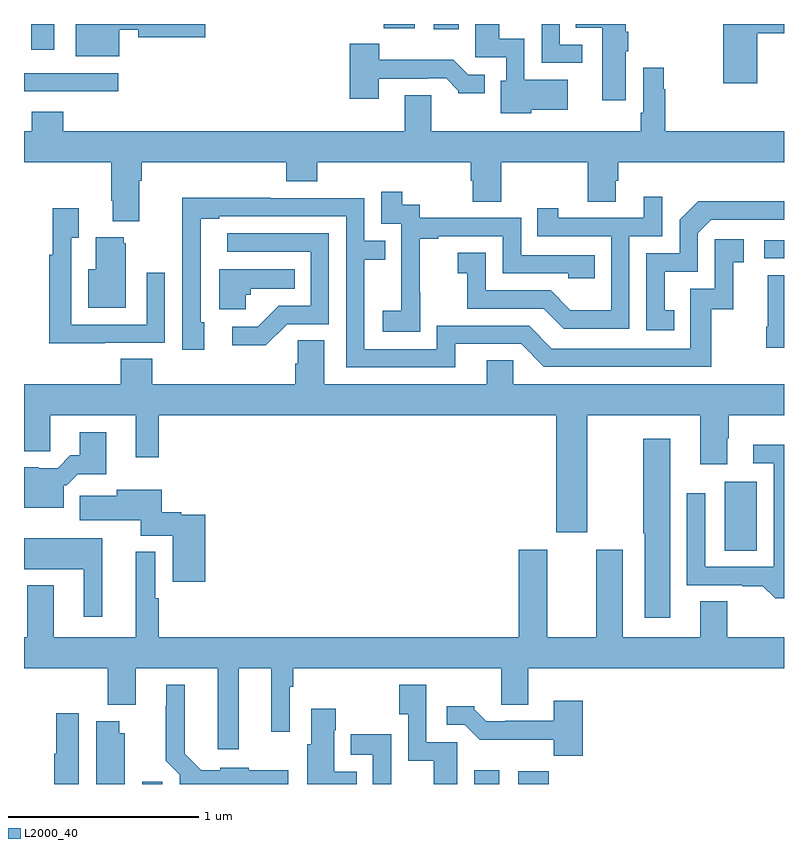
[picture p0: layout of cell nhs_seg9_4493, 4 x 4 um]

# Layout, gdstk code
import gdstk
lib = gdstk.Library(unit=1e-6, precision=1e-09)
def R(c, l, rs):  # rectangles x0, y0, x1, y1
    for r in rs: c.add(gdstk.rectangle(r[:2], r[2:], *l))
def P(c, l, *ps):  # polygons
    for p in ps: c.add(gdstk.Polygon(p, *l))
L2000_40 = (2000, 40)

nhs_seg9_4493 = lib.new_cell('nhs_seg9_4493')
R(nhs_seg9_4493, L2000_40, [(369.623,1174.5,369.727,1174.513), (371.369,1174.5,371.5,1174.573), (371.6,1174.5,371.762,1174.567), (372.689,1175.728,372.856,1176.091), (372.897,1177.266,373,1177.362), (369,1178.145,369.496,1178.241), (369.038,1178.364,369.16,1178.5), (371.156,1178.472,371.287,1178.5), (370.894,1178.477,371.056,1178.5)])
P(nhs_seg9_4493, L2000_40, [(372.858,1178.452),(373,1178.452),(373,1178.5),(372.68,1178.5),(372.68,1178.187),(372.858,1178.187)],
  [(372.166,1178.356),(372.179,1178.356),(372.179,1178.459),(372.166,1178.459),(372.166,1178.5),(371.905,1178.5),(371.905,1178.48),(372.044,1178.48),(372.044,1178.1),(372.166,1178.1)],
  [(371.938,1178.391),(371.82,1178.391),(371.82,1178.5),(371.724,1178.5),(371.724,1178.295),(371.938,1178.295)],
  [(369.502,1178.47),(369.602,1178.47),(369.602,1178.429),(369.955,1178.429),(369.955,1178.5),(369.272,1178.5),(369.272,1178.33),(369.502,1178.33)],
  [(371.67,1178.048),(371.863,1178.048),(371.863,1178.206),(371.634,1178.206),(371.634,1178.422),(371.5,1178.422),(371.5,1178.5),(371.375,1178.5),(371.375,1178.325),(371.538,1178.325),(371.538,1178.202),(371.51,1178.202),(371.51,1178.03),(371.67,1178.03)],
  [(370.867,1178.211),(371.123,1178.211),(371.123,1178.214),(371.222,1178.214),(371.286,1178.15),(371.286,1178.135),(371.425,1178.135),(371.425,1178.232),(371.337,1178.232),(371.259,1178.311),(370.87,1178.311),(370.87,1178.395),(370.715,1178.395),(370.715,1178.106),(370.867,1178.106)],
  [(369.607,1177.676),(369.62,1177.676),(369.62,1177.772),(370.379,1177.772),(370.379,1177.673),(370.544,1177.673),(370.544,1177.772),(371.351,1177.772),(371.351,1177.674),(371.363,1177.674),(371.363,1177.564),(371.511,1177.564),(371.511,1177.772),(371.968,1177.772),(371.968,1177.564),(372.115,1177.564),(372.115,1177.674),(372.128,1177.674),(372.128,1177.772),(373,1177.772),(373,1177.936),(372.374,1177.936),(372.374,1178.156),(372.367,1178.156),(372.367,1178.269),(372.258,1178.269),(372.258,1178.032),(372.246,1178.032),(372.246,1177.936),(371.143,1177.936),(371.143,1178.126),(371.003,1178.126),(371.003,1177.936),(369.206,1177.936),(369.206,1178.038),(369.041,1178.038),(369.041,1177.936),(369,1177.936),(369,1177.772),(369.46,1177.772),(369.46,1177.57),(369.467,1177.57),(369.467,1177.463),(369.607,1177.463)],
  [(371.085,1177.087),(371.084,1177.087),(371.084,1177.371),(371.179,1177.371),(371.179,1177.383),(371.52,1177.383),(371.52,1177.188),(371.865,1177.188),(371.865,1177.161),(372.005,1177.161),(372.005,1177.284),(371.616,1177.284),(371.616,1177.479),(371.082,1177.479),(371.082,1177.548),(370.99,1177.548),(370.99,1177.618),(370.881,1177.618),(370.881,1177.449),(370.986,1177.449),(370.986,1177.22),(370.985,1177.22),(370.985,1176.991),(370.887,1176.991),(370.887,1176.881),(371.085,1176.881)],
  [(372.186,1177.383),(372.36,1177.383),(372.36,1177.591),(372.263,1177.591),(372.263,1177.479),(371.812,1177.479),(371.812,1177.531),(371.701,1177.531),(371.701,1177.383),(372.09,1177.383),(372.09,1176.994),(371.876,1176.994),(371.772,1177.098),(371.43,1177.098),(371.43,1177.297),(371.283,1177.297),(371.283,1177.187),(371.332,1177.187),(371.332,1177.002),(371.735,1177.002),(371.84,1176.897),(372.186,1176.897)],
  [(371.269,1176.816),(371.616,1176.816),(371.736,1176.696),(372.616,1176.696),(372.616,1176.999),(372.734,1176.999),(372.734,1177.245),(372.787,1177.245),(372.787,1177.366),(372.636,1177.366),(372.636,1177.107),(372.507,1177.107),(372.507,1176.792),(371.778,1176.792),(371.658,1176.912),(371.172,1176.912),(371.172,1176.789),(370.791,1176.789),(370.791,1177.258),(370.901,1177.258),(370.901,1177.359),(370.791,1177.359),(370.791,1177.584),(370.295,1177.584),(370.295,1177.586),(369.832,1177.586),(369.832,1177.279),(369.834,1177.279),(369.834,1176.786),(369.949,1176.786),(369.949,1176.93),(369.93,1176.93),(369.93,1177.476),(370.027,1177.476),(370.027,1177.488),(370.695,1177.488),(370.695,1176.693),(371.269,1176.693)],
  [(372.422,1176.993),(372.373,1176.993),(372.373,1177.197),(372.546,1177.197),(372.546,1177.398),(372.618,1177.47),(373,1177.47),(373,1177.566),(372.956,1177.566),(372.956,1177.568),(372.548,1177.568),(372.45,1177.47),(372.45,1177.293),(372.276,1177.293),(372.276,1176.888),(372.422,1176.888)],
  [(369.425,1176.822),(369.741,1176.822),(369.741,1177.192),(369.645,1177.192),(369.645,1176.918),(369.249,1176.918),(369.249,1177.375),(369.289,1177.375),(369.289,1177.531),(369.152,1177.531),(369.152,1177.286),(369.133,1177.286),(369.133,1176.821),(369.425,1176.821)],
  [(370.386,1176.921),(370.605,1176.921),(370.605,1177.398),(370.071,1177.398),(370.071,1177.302),(370.509,1177.302),(370.509,1177.017),(370.34,1177.017),(370.229,1176.906),(370.095,1176.906),(370.095,1176.809),(370.273,1176.809)],
  [(369.535,1177.347),(369.524,1177.347),(369.524,1177.378),(369.377,1177.378),(369.377,1177.21),(369.338,1177.21),(369.338,1177.007),(369.535,1177.007)],
  [(370.167,1177.074),(370.194,1177.074),(370.194,1177.106),(370.424,1177.106),(370.424,1177.21),(370.028,1177.21),(370.028,1176.998),(370.167,1176.998)],
  [(373,1177.177),(372.914,1177.177),(372.914,1176.907),(372.907,1176.907),(372.907,1176.795),(373,1176.795)],
  [(371.965,1176.44),(372.56,1176.44),(372.56,1176.183),(372.7,1176.183),(372.7,1176.32),(372.708,1176.32),(372.708,1176.44),(373,1176.44),(373,1176.604),(371.574,1176.604),(371.574,1176.731),(371.435,1176.731),(371.435,1176.604),(370.579,1176.604),(370.579,1176.836),(370.44,1176.836),(370.44,1176.713),(370.427,1176.713),(370.427,1176.604),(369.674,1176.604),(369.674,1176.737),(369.509,1176.737),(369.509,1176.604),(369,1176.604),(369,1176.251),(369.138,1176.251),(369.138,1176.44),(369.587,1176.44),(369.587,1176.219),(369.709,1176.219),(369.709,1176.44),(371.801,1176.44),(371.801,1175.826),(371.965,1175.826)],
  [(369.208,1176.072),(369.225,1176.072),(369.284,1176.131),(369.433,1176.131),(369.433,1176.352),(369.293,1176.352),(369.293,1176.229),(369.244,1176.229),(369.177,1176.162),(369.077,1176.162),(369.077,1176.166),(369,1176.166),(369,1175.954),(369.208,1175.954)],
  [(372.4,1176.316),(372.259,1176.316),(372.259,1175.821),(372.266,1175.821),(372.266,1175.376),(372.4,1175.376)],
  [(373,1176.286),(372.837,1176.286),(372.837,1176.189),(372.945,1176.189),(372.945,1175.643),(372.585,1175.643),(372.585,1176.031),(372.489,1176.031),(372.489,1175.547),(372.779,1175.547),(372.779,1175.542),(372.887,1175.542),(372.953,1175.477),(373,1175.477)],
  [(369.953,1175.917),(369.828,1175.917),(369.828,1175.93),(369.724,1175.93),(369.724,1176.049),(369.488,1176.049),(369.488,1176.017),(369.294,1176.017),(369.294,1175.888),(369.614,1175.888),(369.614,1175.807),(369.782,1175.807),(369.782,1175.565),(369.953,1175.565)],
  [(369.412,1175.794),(369,1175.794),(369,1175.63),(369.314,1175.63),(369.314,1175.379),(369.412,1175.379)],
  [(369.587,1175.272),(369.157,1175.272),(369.157,1175.545),(369.017,1175.545),(369.017,1175.272),(369,1175.272),(369,1175.108),(369.442,1175.108),(369.442,1174.916),(369.589,1174.916),(369.589,1175.108),(370.019,1175.108),(370.019,1174.683),(370.129,1174.683),(370.129,1175.108),(370.301,1175.108),(370.301,1174.776),(370.398,1174.776),(370.398,1175.012),(370.418,1175.012),(370.418,1175.108),(371.513,1175.108),(371.513,1174.918),(371.653,1174.918),(371.653,1175.108),(373,1175.108),(373,1175.272),(372.7,1175.272),(372.7,1175.462),(372.56,1175.462),(372.56,1175.272),(372.151,1175.272),(372.151,1175.734),(372.011,1175.734),(372.011,1175.272),(371.755,1175.272),(371.755,1175.734),(371.603,1175.734),(371.603,1175.272),(369.709,1175.272),(369.709,1175.477),(369.691,1175.477),(369.691,1175.722),(369.587,1175.722)],
  [(370.39,1174.573),(370.182,1174.573),(370.182,1174.585),(370.032,1174.585),(370.032,1174.573),(369.933,1174.573),(369.847,1174.66),(369.847,1175.023),(369.749,1175.023),(369.749,1174.913),(369.745,1174.913),(369.745,1174.622),(369.819,1174.548),(369.819,1174.5),(370.39,1174.5)],
  [(371.281,1174.719),(371.118,1174.719),(371.118,1175.023),(370.975,1175.023),(370.975,1174.867),(371.022,1174.867),(371.022,1174.622),(371.156,1174.622),(371.156,1174.5),(371.281,1174.5)],
  [(371.942,1174.939),(371.789,1174.939),(371.789,1174.833),(371.533,1174.833),(371.533,1174.83),(371.434,1174.83),(371.37,1174.894),(371.37,1174.909),(371.226,1174.909),(371.226,1174.812),(371.319,1174.812),(371.398,1174.734),(371.787,1174.734),(371.787,1174.649),(371.942,1174.649)],
  [(370.751,1174.564),(370.633,1174.564),(370.633,1174.784),(370.641,1174.784),(370.641,1174.897),(370.511,1174.897),(370.511,1174.71),(370.49,1174.71),(370.49,1174.5),(370.751,1174.5)],
  [(369.289,1174.873),(369.17,1174.873),(369.17,1174.66),(369.158,1174.66),(369.158,1174.5),(369.289,1174.5)],
  [(369.529,1174.767),(369.502,1174.767),(369.502,1174.831),(369.38,1174.831),(369.38,1174.5),(369.529,1174.5)],
  [(370.932,1174.762),(370.719,1174.762),(370.719,1174.653),(370.836,1174.653),(370.836,1174.5),(370.932,1174.5)])

lib.write_gds('nhs_seg9_4493.gds')
